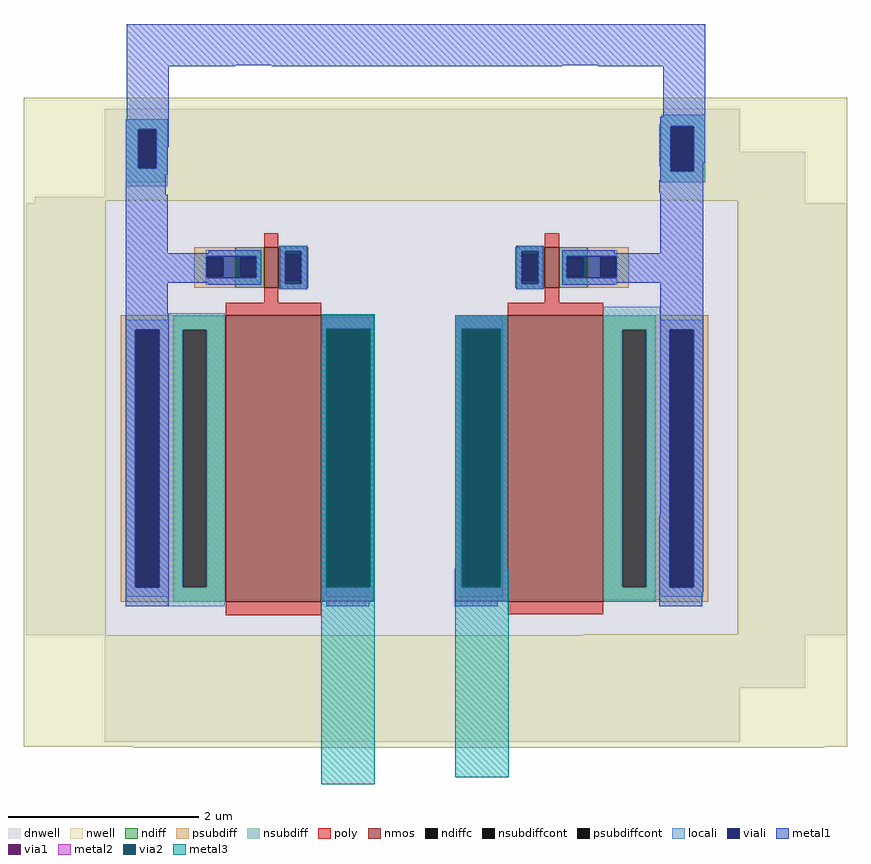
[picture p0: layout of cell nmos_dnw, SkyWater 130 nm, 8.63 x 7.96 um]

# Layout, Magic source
magic
tech sky130A
magscale 1 2
<< dnwell >>
rect -254 2142 1076 2232
rect -254 2048 1214 2142
rect -400 2034 1214 2048
rect -418 1130 1302 2034
rect -254 1020 1214 1130
rect -254 906 1076 1020
<< nwell >>
rect -424 2040 1302 2256
rect -424 1130 -252 2040
rect 1072 1132 1302 2040
rect 748 1130 1302 1132
rect -424 896 1302 1130
rect -194 894 1254 896
<< nmos >>
rect 80 1858 110 1942
rect 668 1858 698 1942
rect 0 1200 200 1800
rect 590 1200 790 1800
<< ndiff >>
rect 20 1920 80 1942
rect 20 1882 30 1920
rect 64 1882 80 1920
rect 20 1858 80 1882
rect 110 1928 172 1942
rect 110 1872 124 1928
rect 158 1872 172 1928
rect 110 1858 172 1872
rect 606 1928 668 1942
rect 606 1872 620 1928
rect 654 1872 668 1928
rect 606 1858 668 1872
rect 698 1920 758 1942
rect 698 1882 714 1920
rect 748 1882 758 1920
rect 698 1858 758 1882
rect -110 1770 0 1800
rect -110 1230 -90 1770
rect -40 1230 0 1770
rect -110 1200 0 1230
rect 200 1770 310 1800
rect 200 1230 230 1770
rect 280 1230 310 1770
rect 200 1200 310 1230
rect 480 1770 590 1800
rect 480 1230 510 1770
rect 560 1230 590 1770
rect 480 1200 590 1230
rect 790 1770 900 1800
rect 790 1230 830 1770
rect 880 1230 900 1770
rect 790 1200 900 1230
<< ndiffc >>
rect 30 1882 64 1920
rect 124 1872 158 1928
rect 620 1872 654 1928
rect 714 1882 748 1920
rect -90 1230 -40 1770
rect 230 1230 280 1770
rect 510 1230 560 1770
rect 830 1230 880 1770
<< psubdiff >>
rect -66 1920 20 1942
rect -66 1882 -40 1920
rect -6 1882 20 1920
rect -66 1858 20 1882
rect 758 1920 844 1942
rect 758 1882 784 1920
rect 818 1882 844 1920
rect 758 1858 844 1882
rect -220 1770 -110 1800
rect -220 1230 -190 1770
rect -140 1230 -110 1770
rect -220 1200 -110 1230
rect 900 1770 1010 1800
rect 900 1230 930 1770
rect 980 1230 1010 1770
rect 900 1200 1010 1230
<< nsubdiff >>
rect 912 2216 1004 2220
rect -210 2190 -122 2210
rect 910 2200 1004 2216
rect -210 2108 -184 2190
rect -146 2108 -122 2190
rect 908 2196 1004 2200
rect 908 2112 932 2196
rect -210 2078 -122 2108
rect 910 2102 932 2112
rect 980 2102 1004 2196
rect 910 2078 1004 2102
<< psubdiffcont >>
rect -40 1882 -6 1920
rect 784 1882 818 1920
rect -190 1230 -140 1770
rect 930 1230 980 1770
<< nsubdiffcont >>
rect -184 2108 -146 2190
rect 932 2102 980 2196
<< poly >>
rect 80 1942 110 1972
rect 668 1942 698 1972
rect 80 1826 110 1858
rect 668 1826 698 1858
rect 0 1800 200 1826
rect 590 1800 790 1826
rect 0 1172 200 1200
rect 590 1174 790 1200
<< locali >>
rect 912 2216 1004 2220
rect -210 2190 -122 2210
rect 910 2200 1004 2216
rect -210 2108 -184 2190
rect -146 2108 -122 2190
rect 908 2196 1004 2200
rect 908 2112 932 2196
rect -210 2070 -122 2108
rect 910 2102 932 2112
rect 980 2102 1004 2196
rect 910 2078 1004 2102
rect -42 1924 74 1936
rect -42 1878 -40 1924
rect 64 1878 74 1924
rect -42 1864 74 1878
rect 114 1934 170 1944
rect 114 1866 124 1934
rect 158 1866 170 1934
rect 114 1854 170 1866
rect 608 1934 664 1944
rect 608 1866 620 1934
rect 654 1866 664 1934
rect 608 1854 664 1866
rect 704 1924 820 1936
rect 704 1878 714 1924
rect 818 1878 820 1924
rect 704 1864 820 1878
rect -122 1790 -2 1804
rect -210 1770 -2 1790
rect -210 1230 -190 1770
rect -140 1230 -90 1770
rect -40 1230 -2 1770
rect 202 1770 302 1796
rect 202 1768 230 1770
rect 202 1734 228 1768
rect -210 1210 -2 1230
rect 210 1234 228 1734
rect 280 1734 302 1770
rect 480 1790 578 1800
rect 790 1790 910 1818
rect 480 1770 580 1790
rect 480 1766 510 1770
rect 480 1758 508 1766
rect 210 1230 230 1234
rect 280 1230 300 1734
rect 210 1210 300 1230
rect 490 1234 508 1758
rect 490 1230 510 1234
rect 560 1230 580 1770
rect 490 1210 580 1230
rect 790 1770 1000 1790
rect 790 1230 830 1770
rect 880 1230 930 1770
rect 980 1230 1000 1770
rect 790 1210 1000 1230
rect -122 1190 -2 1210
rect 790 1204 910 1210
<< viali >>
rect -184 2108 -146 2190
rect 932 2102 980 2196
rect -40 1920 64 1924
rect -40 1882 -6 1920
rect -6 1882 30 1920
rect 30 1882 64 1920
rect -40 1878 64 1882
rect 124 1928 158 1934
rect 124 1872 158 1928
rect 124 1866 158 1872
rect 620 1928 654 1934
rect 620 1872 654 1928
rect 620 1866 654 1872
rect 714 1920 818 1924
rect 714 1882 748 1920
rect 748 1882 784 1920
rect 784 1882 818 1920
rect 714 1878 818 1882
rect -190 1230 -140 1770
rect 228 1234 230 1768
rect 230 1234 280 1768
rect 508 1234 510 1766
rect 510 1234 560 1766
rect 930 1230 980 1770
<< metal1 >>
rect -208 2324 1004 2410
rect -208 2322 20 2324
rect 96 2322 704 2324
rect 780 2322 1004 2324
rect -208 2210 -120 2322
rect 916 2216 1004 2322
rect -210 2190 -120 2210
rect -210 2108 -184 2190
rect -146 2152 -120 2190
rect 910 2196 1004 2216
rect -146 2108 -122 2152
rect -210 2094 -122 2108
rect 910 2102 932 2196
rect 980 2120 1004 2196
rect 980 2102 1000 2120
rect -210 2052 -126 2094
rect 910 2084 1000 2102
rect 908 2056 1000 2084
rect -210 1930 -122 2052
rect -36 1930 74 1936
rect -210 1924 74 1930
rect -210 1878 -40 1924
rect 64 1878 74 1924
rect -210 1868 74 1878
rect -210 1802 -122 1868
rect -36 1864 74 1868
rect 112 1934 170 1946
rect 112 1866 124 1934
rect 158 1866 170 1934
rect 112 1854 170 1866
rect 608 1934 666 1946
rect 608 1866 620 1934
rect 654 1866 666 1934
rect 608 1854 666 1866
rect 704 1930 814 1936
rect 910 1930 1000 2056
rect 704 1924 1000 1930
rect 704 1878 714 1924
rect 818 1878 1000 1924
rect 704 1868 1000 1878
rect 704 1864 814 1868
rect -210 1770 -120 1802
rect -210 1230 -190 1770
rect -140 1230 -120 1770
rect -210 1190 -120 1230
rect 200 1772 312 1802
rect 200 1230 210 1772
rect 302 1230 312 1772
rect 480 1772 590 1800
rect 480 1269 494 1772
rect 200 1202 312 1230
rect 479 1230 494 1269
rect 576 1230 590 1772
rect 910 1770 1000 1868
rect 910 1380 930 1770
rect 479 1202 590 1230
rect 908 1230 930 1380
rect 980 1230 1000 1770
rect 908 1220 1000 1230
rect 210 1190 300 1202
rect 479 1190 569 1202
rect 908 1190 998 1220
<< via1 >>
rect 210 1768 302 1772
rect 210 1234 228 1768
rect 228 1234 280 1768
rect 280 1234 302 1768
rect 210 1230 302 1234
rect 494 1766 576 1772
rect 494 1234 508 1766
rect 508 1234 560 1766
rect 560 1234 576 1766
rect 494 1230 576 1234
<< metal2 >>
rect 200 1772 312 1802
rect 200 1230 210 1772
rect 302 1230 312 1772
rect 200 1202 312 1230
rect 480 1772 590 1800
rect 480 1230 494 1772
rect 576 1230 590 1772
rect 480 1202 590 1230
<< via2 >>
rect 210 1230 302 1772
rect 494 1230 576 1772
<< metal3 >>
rect 200 1772 312 1802
rect 200 1230 210 1772
rect 302 1230 312 1772
rect 200 818 312 1230
rect 480 1772 590 1800
rect 480 1230 494 1772
rect 576 1268 590 1772
rect 576 1230 592 1268
rect 480 832 592 1230
<< end >>
